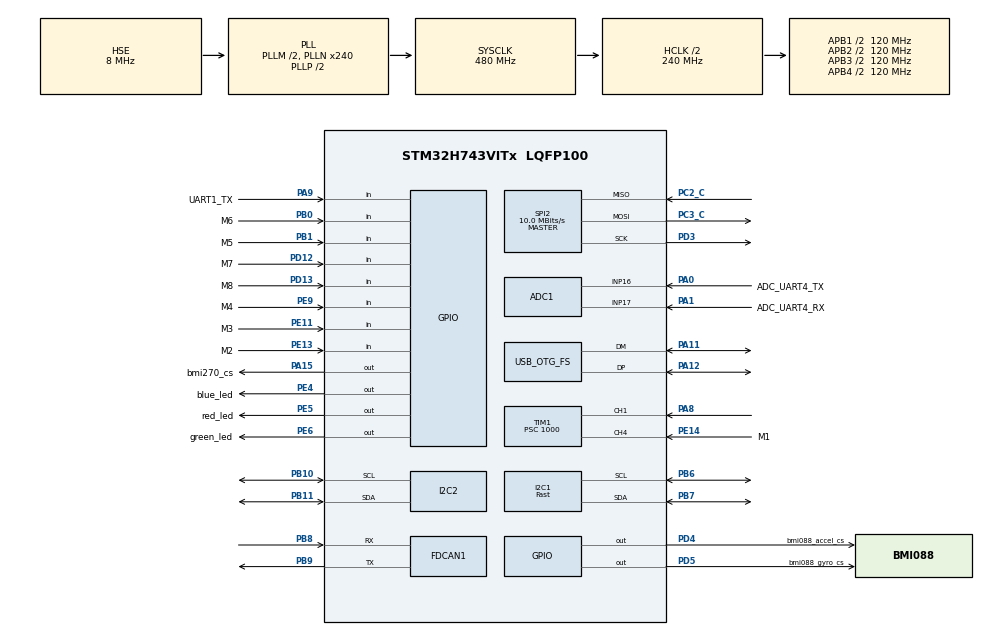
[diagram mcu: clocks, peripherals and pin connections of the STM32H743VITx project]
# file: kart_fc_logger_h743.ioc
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ADC1.Channel-0\#ChannelRegularConversion=ADC_CHANNEL_17
ADC1.Channel-1\#ChannelRegularConversion=ADC_CHANNEL_16
ADC1.ConversionDataManagement=ADC_CONVERSIONDATA_DMA_CIRCULAR
ADC1.EOCSelection=ADC_EOC_SEQ_CONV
ADC1.ExternalTrigConv=ADC_EXTERNALTRIG_T8_TRGO
ADC1.NbrOfConversion=2
ADC1.NbrOfConversionFlag=1
ADC1.OffsetNumber-0\#ChannelRegularConversion=ADC_OFFSET_NONE
ADC1.OffsetNumber-1\#ChannelRegularConversion=ADC_OFFSET_NONE
ADC1.OffsetSignedSaturation-0\#ChannelRegularConversion=DISABLE
ADC1.OffsetSignedSaturation-1\#ChannelRegularConversion=DISABLE
ADC1.OversamplingMode=ENABLE
ADC1.Rank-0\#ChannelRegularConversion=1
ADC1.Rank-1\#ChannelRegularConversion=2
ADC1.SamplingTime-0\#ChannelRegularConversion=ADC_SAMPLETIME_1CYCLE_5
ADC1.SamplingTime-1\#ChannelRegularConversion=ADC_SAMPLETIME_1CYCLE_5
ADC1.master=1
CORTEX_M7.AccessPermission_S-Cortex_Memory_Protection_Unit_Region1_Settings_S=MPU_REGION_FULL_ACCESS
CORTEX_M7.BaseAddress_S-Cortex_Memory_Protection_Unit_Region1_Settings_S=0x30000000
CORTEX_M7.CPU_DCache=Enabled
CORTEX_M7.CPU_ICache=Enabled
CORTEX_M7.DisableExec_S-Cortex_Memory_Protection_Unit_Region1_Settings_S=MPU_INSTRUCTION_ACCESS_DISABLE
CORTEX_M7.Enable_S-Cortex_Memory_Protection_Unit_Region1_Settings_S=MPU_REGION_ENABLE
CORTEX_M7.Size_S-Cortex_Memory_Protection_Unit_Region1_Settings_S=MPU_REGION_SIZE_4KB
CORTEX_M7.default_mode_Activation=1
Dma.ADC1.0.Direction=DMA_PERIPH_TO_MEMORY
Dma.ADC1.0.EventEnable=DISABLE
Dma.ADC1.0.FIFOMode=DMA_FIFOMODE_DISABLE
Dma.ADC1.0.Instance=DMA1_Stream0
Dma.ADC1.0.MemDataAlignment=DMA_MDATAALIGN_HALFWORD
Dma.ADC1.0.MemInc=DMA_MINC_ENABLE
Dma.ADC1.0.Mode=DMA_CIRCULAR
Dma.ADC1.0.PeriphDataAlignment=DMA_PDATAALIGN_HALFWORD
Dma.ADC1.0.PeriphInc=DMA_PINC_DISABLE
Dma.ADC1.0.Polarity=HAL_DMAMUX_REQ_GEN_RISING
Dma.ADC1.0.Priority=DMA_PRIORITY_LOW
Dma.ADC1.0.RequestNumber=1
Dma.ADC1.0.SignalID=NONE
Dma.ADC1.0.SyncEnable=DISABLE
Dma.ADC1.0.SyncPolarity=HAL_DMAMUX_SYNC_NO_EVENT
Dma.ADC1.0.SyncRequestNumber=1
Dma.ADC1.0.SyncSignalID=NONE
Dma.Request0=ADC1
FDCAN1.CalculateBaudRateNominal=1000000
FDCAN1.CalculateTimeBitNominal=1000
FDCAN1.CalculateTimeQuantumNominal=333.3333333333333
FDCAN1.RxFifo0ElmtsNbr=8
FDCAN1.TxBuffersNbr=1
FDCAN1.TxFifoQueueElmtsNbr=8
I2C1.I2C_Speed_Mode=I2C_Fast
I2C1.Timing=0x00B03FDB
I2C2.Timing=0x307075B1
Mcu.Family=STM32H7
Mcu.Name=STM32H743VITx
Mcu.Package=LQFP100
NVIC.DMA1_Stream0_IRQn=true\:0\:0\:false\:false\:true\:false\:true\:true
NVIC.FDCAN1_IT0_IRQn=true\:0\:0\:false\:false\:true\:true\:true\:true
NVIC.FDCAN1_IT1_IRQn=true\:0\:0\:false\:false\:true\:true\:true\:true
NVIC.I2C1_ER_IRQn=true\:0\:0\:false\:false\:true\:true\:true\:true
NVIC.I2C1_EV_IRQn=true\:0\:0\:false\:false\:true\:true\:true\:true
NVIC.I2C2_ER_IRQn=true\:0\:0\:false\:false\:true\:true\:true\:true
NVIC.I2C2_EV_IRQn=true\:0\:0\:false\:false\:true\:true\:true\:true
NVIC.PriorityGroup=NVIC_PRIORITYGROUP_4
NVIC.TIM8_UP_TIM13_IRQn=true\:0\:0\:false\:false\:true\:true\:true\:true
PA0.GPIO_Label=ADC_UART4_TX
PA0.Mode=IN16-Single-Ended
PA0.Signal=ADC1_INP16
PA1.GPIO_Label=ADC_UART4_RX
PA1.Mode=IN17-Single-Ended
PA1.Signal=ADC1_INP17
PA10.Signal=USART1_RX
PA11.Mode=Device_Only
PA11.Signal=USB_OTG_FS_DM
PA12.Mode=Device_Only
PA12.Signal=USB_OTG_FS_DP
PA13\ (JTMS/SWDIO).Mode=Trace_Asynchronous_SW
PA13\ (JTMS/SWDIO).Signal=DEBUG_JTMS-SWDIO
PA14\ (JTCK/SWCLK).Mode=Trace_Asynchronous_SW
PA14\ (JTCK/SWCLK).Signal=DEBUG_JTCK-SWCLK
PA15\ (JTDI).GPIO_Label=bmi270_cs
PA15\ (JTDI).Signal=GPIO_Output
PA3.Signal=USART2_RX
PA6.GPIO_Label=OSD_SPI_MISO
PA6.Signal=SPI1_MISO
PA8.Signal=S_TIM1_CH1
PA9.GPIO_Label=UART1_TX
PA9.Signal=GPIO_Input
PB0.GPIO_Label=M6
PB0.Signal=GPIO_Input
PB1.GPIO_Label=M5
PB1.Signal=GPIO_Input
PB10.Mode=I2C
PB10.Signal=I2C2_SCL
PB11.Mode=I2C
PB11.Signal=I2C2_SDA
PB3\ (JTDO/TRACESWO).Mode=Trace_Asynchronous_SW
PB3\ (JTDO/TRACESWO).Signal=DEBUG_JTDO-SWO
PB6.Mode=I2C
PB6.Signal=I2C1_SCL
PB7.Mode=I2C
PB7.Signal=I2C1_SDA
PB8.Mode=FDCAN_Activate
PB8.Signal=FDCAN1_RX
PB9.Mode=FDCAN_Activate
PB9.Signal=FDCAN1_TX
PC2_C.Mode=Full_Duplex_Master
PC2_C.Signal=SPI2_MISO
PC3_C.Mode=Full_Duplex_Master
PC3_C.Signal=SPI2_MOSI
PC6.Signal=USART6_TX
PC7.Signal=USART6_RX
PD12.GPIO_Label=M7
PD12.Signal=GPIO_Input
PD13.GPIO_Label=M8
PD13.Signal=GPIO_Input
PD3.Mode=Full_Duplex_Master
PD3.Signal=SPI2_SCK
PD4.GPIO_Label=bmi088_accel_cs
PD4.Signal=GPIO_Output
PD5.GPIO_Label=bmi088_gyro_cs
PD5.Signal=GPIO_Output
PD8.Signal=USART3_TX
PD9.Signal=USART3_RX
PE0.Signal=UART8_RX
PE1.Signal=UART8_TX
PE11.GPIO_Label=M3
PE11.Signal=GPIO_Input
PE13.GPIO_Label=M2
PE13.Signal=GPIO_Input
PE14.GPIO_Label=M1
PE14.Signal=S_TIM1_CH4
PE4.GPIO_Label=blue_led
PE4.Signal=GPIO_Output
PE5.GPIO_Label=red_led
PE5.Signal=GPIO_Output
PE6.GPIO_Label=green_led
PE6.Signal=GPIO_Output
PE7.Signal=UART7_RX
PE8.Signal=UART7_TX
PE9.GPIO_Label=M4
PE9.Signal=GPIO_Input
PH0-OSC_IN\ (PH0).Mode=HSE-External-Oscillator
PH0-OSC_IN\ (PH0).Signal=RCC_OSC_IN
PH1-OSC_OUT\ (PH1).Mode=HSE-External-Oscillator
PH1-OSC_OUT\ (PH1).Signal=RCC_OSC_OUT
ProjectManager.HeapSize=0x200
ProjectManager.StackSize=0x400
ProjectManager.TargetToolchain=Makefile
RCC.ADCFreq_Value=40000000
RCC.APB1Freq_Value=120000000
RCC.APB2Freq_Value=120000000
RCC.APB3Freq_Value=120000000
RCC.APB4Freq_Value=120000000
RCC.CortexFreq_Value=480000000
RCC.D1PPRE=RCC_APB3_DIV2
RCC.D2PPRE1=RCC_APB1_DIV2
RCC.D2PPRE2=RCC_APB2_DIV2
RCC.D3PPRE=RCC_APB4_DIV2
RCC.DIVM1=2
RCC.DIVM2=4
RCC.DIVM3=16
RCC.DIVN1=240
RCC.DIVN2=160
RCC.DIVN3=192
RCC.DIVP2=8
RCC.DIVQ1=20
RCC.EnbaleCSS=true
RCC.HCLKFreq_Value=240000000
RCC.HPRE=RCC_HCLK_DIV2
RCC.HSE_VALUE=8000000
RCC.PLL2FRACN=0
RCC.PLL3FRACN=0
RCC.PLLFRACN=0
RCC.PLLSourceVirtual=RCC_PLLSOURCE_HSE
RCC.SPI123CLockSelection=RCC_SPI123CLKSOURCE_PLL2
RCC.SYSCLKFreq_VALUE=480000000
RCC.SYSCLKSource=RCC_SYSCLKSOURCE_PLLCLK
RCC.SupplySource=PWR_LDO_SUPPLY
RCC.USBFreq_Value=48000000
SH.S_TIM1_CH1.0=TIM1_CH1,Input_Capture1_from_TI1
SH.S_TIM1_CH4.0=TIM1_CH4,Input_Capture4_from_TI4
SPI2.BaudRatePrescaler=SPI_BAUDRATEPRESCALER_4
SPI2.CalculateBaudRate=10.0 MBits/s
SPI2.Direction=SPI_DIRECTION_2LINES
SPI2.Mode=SPI_MODE_MASTER
SPI2.VirtualType=VM_MASTER
TIM1.Channel-Input_Capture1_from_TI1=TIM_CHANNEL_1
TIM1.Channel-Input_Capture4_from_TI4=TIM_CHANNEL_4
TIM1.Prescaler=1000
TIM8.Period=24000
TIM8.Prescaler=10
TIM8.TIM_MasterOutputTrigger=TIM_TRGO_UPDATE
USB_OTG_FS.Sof_enable=DISABLE
USB_OTG_FS.VirtualMode=Device_Only
USB_OTG_FS.battery_charging_enable=DISABLE
USB_OTG_FS.low_power_enable=DISABLE
USB_OTG_FS.lpm_enable=DISABLE
VP_MEMORYMAP_VS_MEMORYMAP.Mode=CurAppReg
VP_TIM1_VS_ClockSourceINT.Mode=Internal
VP_TIM8_VS_ClockSourceINT.Mode=Internal
board=custom

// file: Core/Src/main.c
/* USER CODE BEGIN Header */
/**
 ******************************************************************************
 * @file           : main.c
 * @brief          : Main program body
 ******************************************************************************
 * @attention
 *
 * Copyright (c) 2025 STMicroelectronics.
 * All rights reserved.
 *
 * This software is licensed under terms that can be found in the LICENSE file
 * in the root directory of this software component.
 * If no LICENSE file comes with this software, it is provided AS-IS.
 *
 ******************************************************************************
 */
/* USER CODE END Header */
#include "main.h"
#include "adc.h"
#include "dma.h"
#include "fdcan.h"
#include "i2c.h"
#include "memorymap.h"
#include "spi.h"
#include "tim.h"
#include "usb_otg.h"
#include "gpio.h"

/* USER CODE BEGIN Includes */
#include "analog_sensors.h"
#include "can.h"
#include "can_defs.h"
#include "cdc_device.h"
#include "fifo.h"
#include "inttypes.h"
#include "scheduler.h"
#include "stm32h7xx_hal_i2c.h"
#include "tire_temps.h"
#include "tusb.h"
#include "usb_descriptors.c"
#include "usb_task.h"
#include "usbd.h"
#include <stdio.h>
/* USER CODE END Includes */

/* USER CODE BEGIN PTD */

void set_leds(int red, int green, int blue) {
  if (blue >= 0)
    HAL_GPIO_WritePin(blue_led_GPIO_Port, blue_led_Pin, !blue);
  if (green >= 0)
    HAL_GPIO_WritePin(green_led_GPIO_Port, green_led_Pin, !green);
  if (red >= 0)
    HAL_GPIO_WritePin(red_led_GPIO_Port, red_led_Pin, !red);
}
int __io_putchar(int ch) {
  if (tud_cdc_connected())
    fifo_push(&usb_fifo, ch); // defined in usb_taks.h
  return ch;
}

void usb_fifo_error_callback() {
  // TODO: add some sort of logging so we know when/why this was triggered
  set_leds(true, -1, -1); //
}

/* USER CODE END PTD */

/* USER CODE BEGIN PM */
__attribute__((section(".d2_dma_buffers"))) volatile uint8_t adc_dma_buf[20] = {
    0};
/* USER CODE END PM */

void SystemClock_Config(void);
void PeriphCommonClock_Config(void);
static void MPU_Config(void);

/* USER CODE BEGIN 0 */
void Enable_USB_IRQs() {
  HAL_NVIC_SetPriority(OTG_FS_EP1_OUT_IRQn, 0, 0);
  HAL_NVIC_EnableIRQ(OTG_FS_EP1_OUT_IRQn);
  HAL_NVIC_SetPriority(OTG_FS_EP1_IN_IRQn, 0, 0);
  HAL_NVIC_EnableIRQ(OTG_FS_EP1_IN_IRQn);
  HAL_NVIC_SetPriority(OTG_FS_IRQn, 0, 0);
  HAL_NVIC_EnableIRQ(OTG_FS_IRQn);
}

// ***********************************************************************
// The HAL PCD IRQ Handler MUST NOT be called, or TinyUSB won't work
// Regenerating sources WILL put it back in, so we don't have cubemx generate
// this or enable interrupts
// ***********************************************************************
void OTG_FS_IRQHandler(void) {
  tud_int_handler(0);
  // HAL_GPIO_TogglePin(blue_led_GPIO_Port, blue_led_Pin);
}
void OTG_FS_EP1_OUT_IRQHandler(void) {};
void OTG_FS_EP1_IN_IRQHandler(void) {};

uint8_t scan_i2c_bus(uint8_t *sensor_addr, SensorType *sensor_type) {
  uint8_t possible_dev_addr[] = {
      0x68,
      0x69,
  };
  uint8_t num_sensors = 0;
  const uint8_t timeout = 10;
  for (int i = 0; i < 2; i++) {
    uint8_t dev_addr = possible_dev_addr[i];
    HAL_StatusTypeDef status =
        HAL_I2C_Master_Transmit(&hi2c1, dev_addr << 1, NULL, 0, timeout);

    if (status == HAL_OK) {
      // Device is present and ACKed.
      printf("i2c device present at: 0x%x\r\n", dev_addr);
      sensor_addr[num_sensors] = dev_addr;
      sensor_type[num_sensors] = AMG8833;
      num_sensors += 1;
    } else {
      // Device is not present or NACKed.
      printf("i2c device NOT present at: 0x%x\r\n", dev_addr);
    }
  }
  return num_sensors;
}

INIT_AnalogMsg(can_msg);

/* USER CODE END 0 */

int main(void)
{

  /* MPU Configuration--------------------------------------------------------*/
  MPU_Config();

  /* Enable the CPU Cache */

  /* Enable I-Cache---------------------------------------------------------*/
  SCB_EnableICache();

  /* Enable D-Cache---------------------------------------------------------*/
  SCB_EnableDCache();

  /* MCU Configuration--------------------------------------------------------*/

  /* Reset of all peripherals, Initializes the Flash interface and the Systick. */
  HAL_Init();

  /* USER CODE BEGIN Init */
  can_msg.data.analog.throttle_position = 1;
  can_msg.data.analog.rear_brake_pressure = 0;
  /* USER CODE END Init */

  /* Configure the system clock */
  SystemClock_Config();

  /* Configure the peripherals common clocks */
  PeriphCommonClock_Config();

  /* Initialize all configured peripherals */
  MX_GPIO_Init();
  MX_DMA_Init();
  MX_ADC1_Init();
  MX_FDCAN1_Init();
  MX_I2C2_Init();
  MX_SPI2_Init();
  MX_USB_OTG_FS_PCD_Init();
  MX_I2C1_Init();
  MX_TIM1_Init();
  MX_TIM8_Init();
  /* USER CODE BEGIN 2 */
  Enable_USB_IRQs();
  tusb_rhport_init_t dev_init = {.role = TUSB_ROLE_DEVICE,
                                 .speed = TUSB_SPEED_AUTO};
  tusb_init(0, &dev_init);

  HAL_ADC_Start_DMA(&hadc1, (uint32_t *)adc_dma_buf, 2);
  HAL_TIM_Base_Start(&htim8);

  // TIM1 frequency input.
  // Input capture mode latches CNT into CCRx when an edge is detected
  // Truncate speed to zero below some threshold
  HAL_TIM_IC_Start_IT(&htim1, TIM_CHANNEL_4);

  set_leds(false, false, false);

  config_can();
  uint8_t sensor_addr[4] = {0};
  SensorType sensor_type[4] = {0};
  uint8_t num_sensors = scan_i2c_bus(sensor_addr, sensor_type);

  usb_task_instantiate(usb_fifo_error_callback);
  static SST_Evt const *usbQSto[10];   /* Event queue storage */
  SST_Task_start(AO_usb,               /* AO pointer to start */
                 1U,                   /* SST-priority */
                 usbQSto,              /* storage for the AO's queue */
                 ARRAY_NELEM(usbQSto), /* queue length */
                 (void *)0);           /* initialization event (not used) */

  analog_task_instantiate(
      usb_fifo_error_callback); // TODO: error callback currently unused

  static SST_Evt const *analogQSto[10];   /* Event queue storage */
  SST_Task_start(AO_analog,               /* AO pointer to start */
                 1U,                      /* SST-priority */
                 analogQSto,              /* storage for the AO's queue */
                 ARRAY_NELEM(analogQSto), /* queue length */
                 (void *)0);              /* initialization event (not used) */

  tire_temps_task_instantiate(usb_fifo_error_callback, &hi2c1, num_sensors,
                              sensor_addr, sensor_type);
  static SST_Evt const *tireQSto[10];   /* Event queue storage */
  SST_Task_start(AO_tires,              /* AO pointer to start */
                 3U,                    /* SST-priority */
                 tireQSto,              /* storage for the AO's queue */
                 ARRAY_NELEM(tireQSto), /* queue length */
                 (void *)0);            /* initialization event (not used) */
  SST_start();
  SST_onStart(); /* application callback to config & start interrupts */
  /* USER CODE END 2 */

  /* Infinite loop */
  /* USER CODE BEGIN WHILE */
  while (1) {

    HAL_GPIO_TogglePin(green_led_GPIO_Port, green_led_Pin);
    HAL_Delay(10);
    HAL_GPIO_TogglePin(green_led_GPIO_Port, green_led_Pin);
    HAL_Delay(990);
    /* USER CODE END WHILE */

  }
}

void SystemClock_Config(void)
{
  RCC_OscInitTypeDef RCC_OscInitStruct = {0};
  RCC_ClkInitTypeDef RCC_ClkInitStruct = {0};

  /** Supply configuration update enable
  */
  HAL_PWREx_ConfigSupply(PWR_LDO_SUPPLY);

  /** Configure the main internal regulator output voltage
  */
  __HAL_PWR_VOLTAGESCALING_CONFIG(PWR_REGULATOR_VOLTAGE_SCALE0);

  while(!__HAL_PWR_GET_FLAG(PWR_FLAG_VOSRDY)) {}

  /** Initializes the RCC Oscillators according to the specified parameters
  * in the RCC_OscInitTypeDef structure.
  */
  RCC_OscInitStruct.OscillatorType = RCC_OSCILLATORTYPE_HSE;
  RCC_OscInitStruct.HSEState = RCC_HSE_ON;
  RCC_OscInitStruct.PLL.PLLState = RCC_PLL_ON;
  RCC_OscInitStruct.PLL.PLLSource = RCC_PLLSOURCE_HSE;
  RCC_OscInitStruct.PLL.PLLM = 2;
  RCC_OscInitStruct.PLL.PLLN = 240;
  RCC_OscInitStruct.PLL.PLLP = 2;
  RCC_OscInitStruct.PLL.PLLQ = 20;
  RCC_OscInitStruct.PLL.PLLR = 2;
  RCC_OscInitStruct.PLL.PLLRGE = RCC_PLL1VCIRANGE_2;
  RCC_OscInitStruct.PLL.PLLVCOSEL = RCC_PLL1VCOWIDE;
  RCC_OscInitStruct.PLL.PLLFRACN = 0;
  if (HAL_RCC_OscConfig(&RCC_OscInitStruct) != HAL_OK)
  {
    Error_Handler();
  }

  /** Initializes the CPU, AHB and APB buses clocks
  */
  RCC_ClkInitStruct.ClockType = RCC_CLOCKTYPE_HCLK|RCC_CLOCKTYPE_SYSCLK
                              |RCC_CLOCKTYPE_PCLK1|RCC_CLOCKTYPE_PCLK2
                              |RCC_CLOCKTYPE_D3PCLK1|RCC_CLOCKTYPE_D1PCLK1;
  RCC_ClkInitStruct.SYSCLKSource = RCC_SYSCLKSOURCE_PLLCLK;
  RCC_ClkInitStruct.SYSCLKDivider = RCC_SYSCLK_DIV1;
  RCC_ClkInitStruct.AHBCLKDivider = RCC_HCLK_DIV2;
  RCC_ClkInitStruct.APB3CLKDivider = RCC_APB3_DIV2;
  RCC_ClkInitStruct.APB1CLKDivider = RCC_APB1_DIV2;
  RCC_ClkInitStruct.APB2CLKDivider = RCC_APB2_DIV2;
  RCC_ClkInitStruct.APB4CLKDivider = RCC_APB4_DIV2;

  if (HAL_RCC_ClockConfig(&RCC_ClkInitStruct, FLASH_LATENCY_4) != HAL_OK)
  {
    Error_Handler();
  }

  /** Enables the Clock Security System
  */
  HAL_RCC_EnableCSS();
}

void PeriphCommonClock_Config(void)
{
  RCC_PeriphCLKInitTypeDef PeriphClkInitStruct = {0};

  /** Initializes the peripherals clock
  */
  PeriphClkInitStruct.PeriphClockSelection = RCC_PERIPHCLK_ADC|RCC_PERIPHCLK_SPI2;
  PeriphClkInitStruct.PLL2.PLL2M = 4;
  PeriphClkInitStruct.PLL2.PLL2N = 160;
  PeriphClkInitStruct.PLL2.PLL2P = 8;
  PeriphClkInitStruct.PLL2.PLL2Q = 2;
  PeriphClkInitStruct.PLL2.PLL2R = 2;
  PeriphClkInitStruct.PLL2.PLL2RGE = RCC_PLL2VCIRANGE_1;
  PeriphClkInitStruct.PLL2.PLL2VCOSEL = RCC_PLL2VCOWIDE;
  PeriphClkInitStruct.PLL2.PLL2FRACN = 0;
  PeriphClkInitStruct.Spi123ClockSelection = RCC_SPI123CLKSOURCE_PLL2;
  PeriphClkInitStruct.AdcClockSelection = RCC_ADCCLKSOURCE_PLL2;
  if (HAL_RCCEx_PeriphCLKConfig(&PeriphClkInitStruct) != HAL_OK)
  {
    Error_Handler();
  }
}

 /* MPU Configuration */

void MPU_Config(void)
{
  MPU_Region_InitTypeDef MPU_InitStruct = {0};

  /* Disables the MPU */
  HAL_MPU_Disable();

  /** Initializes and configures the Region and the memory to be protected
  */
  MPU_InitStruct.Enable = MPU_REGION_ENABLE;
  MPU_InitStruct.Number = MPU_REGION_NUMBER0;
  MPU_InitStruct.BaseAddress = 0x0;
  MPU_InitStruct.Size = MPU_REGION_SIZE_4GB;
  MPU_InitStruct.SubRegionDisable = 0x87;
  MPU_InitStruct.TypeExtField = MPU_TEX_LEVEL0;
  MPU_InitStruct.AccessPermission = MPU_REGION_NO_ACCESS;
  MPU_InitStruct.DisableExec = MPU_INSTRUCTION_ACCESS_DISABLE;
  MPU_InitStruct.IsShareable = MPU_ACCESS_SHAREABLE;
  MPU_InitStruct.IsCacheable = MPU_ACCESS_NOT_CACHEABLE;
  MPU_InitStruct.IsBufferable = MPU_ACCESS_NOT_BUFFERABLE;

  HAL_MPU_ConfigRegion(&MPU_InitStruct);

  /** Initializes and configures the Region and the memory to be protected
  */
  MPU_InitStruct.Number = MPU_REGION_NUMBER1;
  MPU_InitStruct.BaseAddress = 0x30000000;
  MPU_InitStruct.Size = MPU_REGION_SIZE_4KB;
  MPU_InitStruct.SubRegionDisable = 0x0;
  MPU_InitStruct.AccessPermission = MPU_REGION_FULL_ACCESS;
  MPU_InitStruct.IsShareable = MPU_ACCESS_NOT_SHAREABLE;

  HAL_MPU_ConfigRegion(&MPU_InitStruct);
  /* Enables the MPU */
  HAL_MPU_Enable(MPU_PRIVILEGED_DEFAULT);

}

void Error_Handler(void)
{
  /* USER CODE BEGIN Error_Handler_Debug */
  /* User can add his own implementation to report the HAL error return state
   */
  __disable_irq();
  HAL_GPIO_WritePin(blue_led_GPIO_Port, blue_led_Pin, true);
  HAL_GPIO_WritePin(green_led_GPIO_Port, green_led_Pin, true);
  HAL_GPIO_WritePin(red_led_GPIO_Port, red_led_Pin, true);
  while (1) {
    HAL_GPIO_TogglePin(blue_led_GPIO_Port, blue_led_Pin);
    HAL_GPIO_TogglePin(green_led_GPIO_Port, green_led_Pin);
    HAL_GPIO_TogglePin(red_led_GPIO_Port, red_led_Pin);
    HAL_Delay(100);
  }
  /* USER CODE END Error_Handler_Debug */
}

#ifdef  USE_FULL_ASSERT
/**
  * @brief  Reports the name of the source file and the source line number
  *         where the assert_param error has occurred.
  * @param  file: pointer to the source file name
  * @param  line: assert_param error line source number
  * @retval None
  */
void assert_failed(uint8_t *file, uint32_t line)
{
  /* USER CODE BEGIN 6 */
  /* User can add his own implementation to report the file name and line
     number,
     ie: printf("Wrong parameters value: file %s on line %d\r\n", file,
     line) */
  /* USER CODE END 6 */
}
#endif /* USE_FULL_ASSERT */
